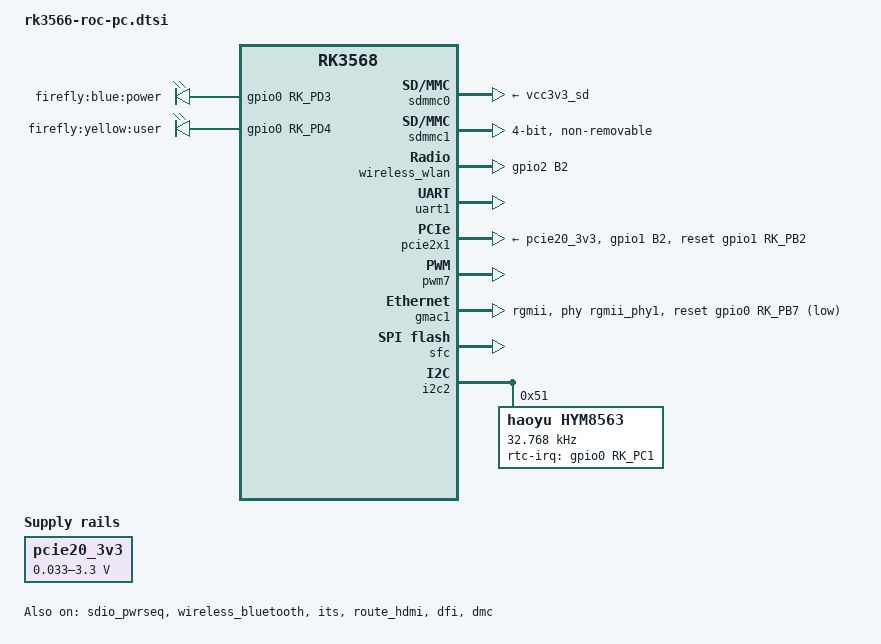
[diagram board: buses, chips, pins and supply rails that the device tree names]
// SPDX-License-Identifier: (GPL-2.0+ OR MIT)
/*
 * Copyright (c) 2020 Rockchip Electronics Co., Ltd.
 *
 */

#include "rk3568-firefly-port.dtsi"
#include "rk3566-diff.dtsi"

#define M2_SATA_OR_PCIE 0 /* 1 = SATA, 0 = PCIe */

/ {
    /delete-node/ gpio-regulator;
	pcie20_3v3: gpio-regulator {
		compatible = "regulator-gpio";
		regulator-name = "pcie20_3v3";
		regulator-min-microvolt = <0100000>;
		regulator-max-microvolt = <3300000>;
		gpios = <&gpio0 RK_PC4 GPIO_ACTIVE_HIGH>;
		gpios-states = <0x1>;
		states = <0100000 0x0
			  3300000 0x1>;
	};

    firefly_leds: leds {
        status = "okay";
        compatible = "gpio-leds";
        pinctrl-names = "default";
        pinctrl-0 =<&leds_gpio>;

        power_led: power {
            label = "firefly:blue:power";
            linux,default-trigger = "ir-power-click";
            default-state = "on";
            gpios = <&gpio0 RK_PD3 GPIO_ACTIVE_HIGH>;
        };

        user_led: user {
            label = "firefly:yellow:user";
            linux,default-trigger = "ir-user-click";
            default-state = "off";
            gpios = <&gpio0 RK_PD4 GPIO_ACTIVE_HIGH>;
        };
    };
};

&vcc_camera {
	status = "disabled";
	gpio = <&gpio4 RK_PB0 GPIO_ACTIVE_HIGH>;
};

&flash_led {
	status = "disabled";
};

&pwm11 {
	status = "disabled";
};

/* USB vbus config  */
&vcc5v0_host {
    gpio = <&gpio0 RK_PA6 0>;
    pinctrl-names = "default";
    pinctrl-0 = <&vcc5v0_host_vbus_en>;
};
&vcc5v0_otg {
    status = "disabled";
};
&u2phy0_otg {
	/delete-property/ vbus-supply;
};

/* sdcard config */
&sdmmc0 {
    vmmc-supply=<&vcc3v3_sd>;
};

/* WiFi config */
&sdmmc1 {
    max-frequency = <150000000>;
    supports-sdio;
    bus-width = <4>;
    disable-wp;
    cap-sd-highspeed;
    cap-sdio-irq;
    keep-power-in-suspend;
    mmc-pwrseq = <&sdio_pwrseq>;
    non-removable;
    pinctrl-names = "default";
    pinctrl-0 = <&sdmmc1_bus4 &sdmmc1_cmd &sdmmc1_clk>;
    sd-uhs-sdr104;
    rockchip,default-sample-phase = <90>;
    status = "okay";
};

&sdio_pwrseq {
    reset-gpios = <&gpio2 RK_PB1 GPIO_ACTIVE_LOW>;
    status = "okay";
};

&wifi_enable_h {
    rockchip,pins = <2 RK_PB1 RK_FUNC_GPIO &pcfg_pull_none>;
};

// iomux with GPIO2_B2(WIFI,host_wake_irq)
&uart8 {
    status = "disabled";
};

&wireless_wlan {
    wifi_chip_type = "ap6256";
    pinctrl-names = "default";
    pinctrl-0 = <&wifi_host_wake_irq>;
    WIFI,host_wake_irq = <&gpio2 RK_PB2 0>;
    status = "okay";
};

/* BT config */
&uart1 {
    pinctrl-names = "default";
    pinctrl-0 = <&uart1m0_xfer &uart1m0_ctsn>;
    status = "okay";
};

&wireless_bluetooth {
    uart_rts_gpios = <&gpio2 RK_PB5 GPIO_ACTIVE_LOW>;
    pinctrl-names = "default", "rts_gpio";
    pinctrl-0 = <&uart1m0_rtsn
        &bt_host_wake_gpio
        &bt_poweren
        &bt_host_wake_irq>;
    pinctrl-1 = <&uart1_rts_gpio>;
    BT,reset_gpio    = <&gpio2 RK_PB7 GPIO_ACTIVE_HIGH>;
    BT,wake_gpio     = <&gpio2 RK_PC1 GPIO_ACTIVE_HIGH>;
    BT,wake_host_irq = <&gpio2 RK_PC0 GPIO_ACTIVE_HIGH>;
    status = "okay";
};

&rk809_codec {
    /delete-property/ spk-ctl;
    io-channels = <&saradc 2>;
    hp-det-adc-value = <120>;
    hp-adc-drift-scope = <120>;
};

&spk_ctl_gpio{
    status = "disabled";
};
&can1{
	status = "disabled";
};

#if M2_SATA_OR_PCIE
&sata2 {
    status = "okay";
};
#else
&pcie2x1 {
    reset-gpios = <&gpio1 RK_PB2 GPIO_ACTIVE_HIGH>;
    pinctrl-names = "default";
    pinctrl-0 = <&pcie_reset_gpio>;
    vpcie3v3-supply = <&pcie20_3v3>;
    status = "okay";
};
#endif

&its {
    status = "okay";
};

&pwm7 {
    status = "okay";
};

&pinctrl {
        cam {
                vcc_cam: vcc-cam {
                        rockchip,pins = <4 RK_PB0 RK_FUNC_GPIO &pcfg_pull_none>;
                };
        };

	usb {
		vcc5v0_host_vbus_en: vcc5v0-host-en {
			rockchip,pins = <0 RK_PA6 RK_FUNC_GPIO &pcfg_pull_none>;
		};
	};
	sd {
		sd_vcc3v3_power_en: sd-vcc3v3-power-en {
			rockchip,pins = <0 RK_PA5 RK_FUNC_GPIO &pcfg_pull_none>;
		};
	};

    wireless-wlan {
        wifi_host_wake_irq: wifi-host-wake-irq {
            rockchip,pins = <2 RK_PB2 RK_FUNC_GPIO &pcfg_pull_down>;
        };
    };

    wireless-bluetooth {
        uart1_rts_gpio: uart1-rts-gpio {
            rockchip,pins = <2  RK_PB5 RK_FUNC_GPIO &pcfg_pull_none>;
        };

        bt_host_wake_irq: bt-host-wake-irq {
            rockchip,pins = <2 RK_PC0 RK_FUNC_GPIO &pcfg_pull_down>;
        };
        bt_host_wake_gpio: bt-host-wake-gpio {
            rockchip,pins = <2 RK_PC1 RK_FUNC_GPIO &pcfg_pull_down>;
        };
        bt_poweren: bt-poweren {
            rockchip,pins = <2 RK_PB7 RK_FUNC_GPIO &pcfg_pull_down>;
        };
    };

    pcie {
        pcie_reset_gpio: pcie-reset-gpio {
			rockchip,pins = <1 RK_PB2 RK_FUNC_GPIO &pcfg_pull_none>;
		};
    };

    leds {
        leds_gpio: leds-gpio {
            rockchip,pins =
            /* led_power */
            <0 RK_PD3 RK_FUNC_GPIO &pcfg_pull_none>,
            /* led_user */
            <0 RK_PD4 RK_FUNC_GPIO &pcfg_pull_none>;
        };
    };
};

&gmac1 {
    phy-mode = "rgmii";
    clock_in_out = "input";

    snps,reset-gpio = <&gpio0 RK_PB7 GPIO_ACTIVE_LOW>;
    snps,reset-active-low;
    /* Reset time is 20ms, 100ms for rtl8211f */
    snps,reset-delays-us = <0 20000 100000>;

    assigned-clocks = <&cru SCLK_GMAC1_RX_TX>, <&cru SCLK_GMAC1>;
    assigned-clock-parents = <&cru SCLK_GMAC1_RGMII_SPEED>, <&gmac1_clkin>;

    pinctrl-names = "default";
    pinctrl-0 = <&gmac1m0_miim
             &gmac1m0_tx_bus2
             &gmac1m0_rx_bus2
             &gmac1m0_rgmii_clk
             &gmac1m0_rgmii_bus
             &gmac1m0_clkinout>;

    tx_delay = <0x47>;
    rx_delay = <0x2e>;

    phy-handle = <&rgmii_phy1>;
    led_status_value = <0x2f60>;
    status = "okay";
};
 &sfc{
     status = "okay";
 };
&i2c2 {
    status = "okay";
    pinctrl-0 = <&i2c2m0_xfer>;
    hym8563: hym8563@51 {
		status = "okay";
		compatible = "haoyu,hym8563";
		reg = <0x51>;
		#clock-cells = <0>;
		rtc-irq-gpio = <&gpio0 RK_PC1 IRQ_TYPE_EDGE_FALLING>;
		clock-frequency = <32768>;
		//clock-output-names = "xin32k";
		/* rtc_int is not connected */
	};

};
&i2c5{
    /delete-node/ hym8563@51;
};
&rk809 {
	rtc {
		status = "disabled";
	};
};
&route_hdmi{
    status = "okay";
    connect = <&vp0_out_hdmi>;
};

&dfi {
    status = "okay";
};

&dmc {
    status = "okay";
};
